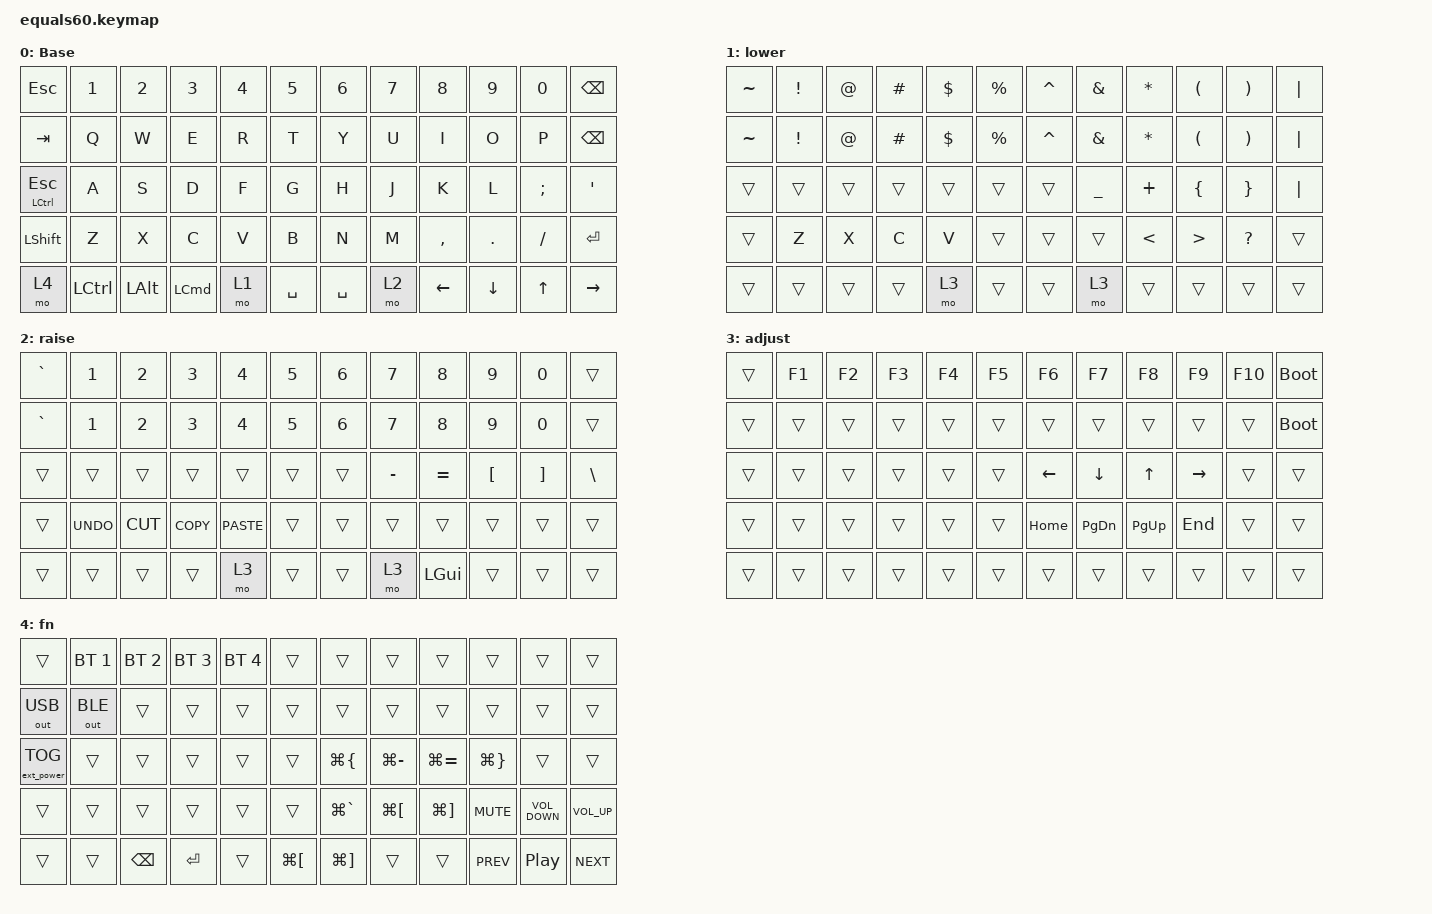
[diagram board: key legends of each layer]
/*
 * Copyright (c) 2022 Pete Johanson
 *
 * SPDX-License-Identifier: MIT
 */

#include <behaviors.dtsi>
#include <dt-bindings/zmk/bt.h>
#include <dt-bindings/zmk/ext_power.h>
#include <dt-bindings/zmk/keys.h>
#include <dt-bindings/zmk/outputs.h>

#define QWERTY_BASE 1
#define EQUALS60 1
#define BOTTOM_ORTHO   1

// #define BOTTOM_MIT     1

#define NAV_L 1
#define NUM_L 2
#define SYM_L 3

// Using layer taps on thumbs, having quick tap as well helps w/ repeating space/backspace

&lt { quick_tap_ms = <200>; };

/ {
    tap_dances {
        shifty: shift_caps_word {
            compatible = "zmk,behavior-tap-dance";
            label = "TD_SHIFTY";
            #binding-cells = <0>;
            tapping-term-ms = <150>;
            bindings = <&kp LSHFT>, <&caps_word>;
        };
    };

    behaviors {
    };

    keymap {
        compatible = "zmk,keymap";

        base_layer {
            label = "Base";
            bindings = <
&kp ESC           &kp N1     &kp N2        &kp N3            &kp N4  &kp N5     &kp N6     &kp N7  &kp N8     &kp N9    &kp N0        &kp BACKSPACE
&kp TAB           &kp Q      &kp W         &kp E             &kp R   &kp T      &kp Y      &kp U   &kp I      &kp O     &kp P         &kp BACKSPACE
&mt LCTRL ESCAPE  &kp A      &kp S         &kp D             &kp F   &kp G      &kp H      &kp J   &kp K      &kp L     &kp SEMI      &kp SQT
&kp LSHFT         &kp Z      &kp X         &kp C             &kp V   &kp B      &kp N      &kp M   &kp COMMA  &kp DOT   &kp FSLH      &kp RET
&mo 4             &kp LCTRL  &kp LEFT_ALT  &kp LEFT_COMMAND  &mo 1   &kp SPACE  &kp SPACE  &mo 2   &kp LEFT   &kp DOWN  &kp UP_ARROW  &kp RIGHT
            >;
        };

        lower_layer {
            label = "lower";
            bindings = <
&kp TILDE  &kp EXCL  &kp AT  &kp HASH  &kp DOLLAR  &kp PERCENT  &kp CARET  &kp AMPERSAND  &kp STAR       &kp LEFT_PARENTHESIS  &kp RIGHT_PARENTHESIS  &kp PIPE
&kp TILDE  &kp EXCL  &kp AT  &kp HASH  &kp DOLLAR  &kp PERCENT  &kp CARET  &kp AMPERSAND  &kp ASTERISK   &kp LEFT_PARENTHESIS  &kp RIGHT_PARENTHESIS  &kp PIPE
&trans     &trans    &trans  &trans    &trans      &trans       &trans     &kp UNDER      &kp PLUS       &kp LEFT_BRACE        &kp RIGHT_BRACE        &kp PIPE
&trans     &kp Z     &kp X   &kp C     &kp V       &trans       &trans     &trans         &kp LESS_THAN  &kp GREATER_THAN      &kp QUESTION           &trans
&trans     &trans    &trans  &trans    &mo 3       &trans       &trans     &mo 3          &trans         &trans                &trans                 &trans
            >;
        };

        raise_layer {
            label = "raise";
            bindings = <
&kp GRAVE  &kp N1      &kp N2     &kp N3      &kp N4       &kp N5  &kp N6  &kp N7     &kp N8     &kp N9    &kp N0    &trans
&kp GRAVE  &kp N1      &kp N2     &kp N3      &kp N4       &kp N5  &kp N6  &kp N7     &kp N8     &kp N9    &kp N0    &trans
&trans     &trans      &trans     &trans      &trans       &trans  &trans  &kp MINUS  &kp EQUAL  &kp LBKT  &kp RBKT  &kp BSLH
&trans     &kp K_UNDO  &kp K_CUT  &kp K_COPY  &kp K_PASTE  &trans  &trans  &trans     &trans     &trans    &trans    &trans
&trans     &trans      &trans     &trans      &mo 3        &trans  &trans  &mo 3      &kp LGUI   &trans    &trans    &trans
            >;
        };

        adjust_layer {
            label = "adjust";
            bindings = <
&trans  &kp F1  &kp F2  &kp F3  &kp F4  &kp F5  &kp F6    &kp F7     &kp F8        &kp F9     &kp F10  &bootloader
&trans  &trans  &trans  &trans  &trans  &trans  &trans    &trans     &trans        &trans     &trans   &bootloader
&trans  &trans  &trans  &trans  &trans  &trans  &kp LEFT  &kp DOWN   &kp UP_ARROW  &kp RIGHT  &trans   &trans
&trans  &trans  &trans  &trans  &trans  &trans  &kp HOME  &kp PG_DN  &kp PG_UP     &kp END    &trans   &trans
&trans  &trans  &trans  &trans  &trans  &trans  &trans    &trans     &trans        &trans     &trans   &trans
            >;
        };

        fn_layer {
            bindings = <
&trans             &bt BT_SEL 1  &bt BT_SEL 2   &bt BT_SEL 3  &bt BT_SEL 4  &trans        &trans              &trans                &trans                 &trans               &trans             &trans
&out OUT_USB       &out OUT_BLE  &trans         &trans        &trans        &trans        &trans              &trans                &trans                 &trans               &trans             &trans
&ext_power EP_TOG  &trans        &trans         &trans        &trans        &trans        &kp LG(LEFT_BRACE)  &kp LG(MINUS)         &kp LG(EQUAL)          &kp LG(RIGHT_BRACE)  &trans             &trans
&trans             &trans        &trans         &trans        &trans        &trans        &kp LG(GRAVE)       &kp LG(LEFT_BRACKET)  &kp LG(RIGHT_BRACKET)  &kp C_MUTE           &kp C_VOLUME_DOWN  &kp C_VOL_UP
&trans             &trans        &kp BACKSPACE  &kp ENTER     &trans        &kp LG(LBKT)  &kp LG(RBKT)        &trans                &trans                 &kp C_PREV           &kp C_PLAY_PAUSE   &kp C_NEXT
            >;

            label = "fn";
        };
    };
};
